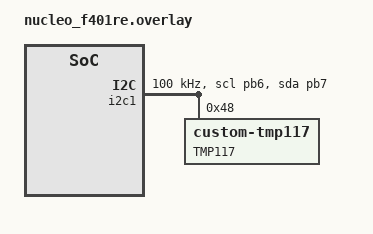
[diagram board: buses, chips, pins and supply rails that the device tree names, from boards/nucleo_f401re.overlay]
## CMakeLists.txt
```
cmake_minimum_required(VERSION 3.21)

find_package(Zephyr REQUIRED HINTS $ENV{ZEPHYR_BASE})
project(custom_dirver_module)

# Include custom driver module
add_subdirectory(custom_dirver_module)

target_sources(app PRIVATE src/main.c)

target_include_directories(app PRIVATE include)

# Link the custom TMP117 driver library
# Try using the exported variable first, then fallback to direct target name
if(CUSTOM_TMP117_LIB_TARGET)
    message(STATUS "Linking TMP117 library using exported target: ${CUSTOM_TMP117_LIB_TARGET}")
    target_link_libraries(app PRIVATE ${CUSTOM_TMP117_LIB_TARGET})
else()
    # Fallback: construct the target name based on the source path pattern
    # The target name is: ..__tmp__<project_dir>__custom_dirver_module__drivers__sensor__custom_tmp117
    get_filename_component(_project_dir ${CMAKE_SOURCE_DIR} NAME)
    set(_tmp117_target "..__tmp__${_project_dir}__custom_dirver_module__drivers__sensor__custom_tmp117")
    message(STATUS "Linking TMP117 library using constructed target: ${_tmp117_target}")
    if(TARGET ${_tmp117_target})
        target_link_libraries(app PRIVATE ${_tmp117_target})
    else()
        # Last resort: link the library file directly
        set(_tmp117_lib_file "${CMAKE_CURRENT_BINARY_DIR}/custom_dirver_module/drivers/sensor/custom_tmp117/lib${_tmp117_target}.a")
        message(STATUS "Linking TMP117 library file directly: ${_tmp117_lib_file}")
        target_link_libraries(app PRIVATE ${_tmp117_lib_file})
    endif()
endif()
```

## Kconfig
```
mainmenu "Custom TMP117 Driver Test Application Configuration"

source "Kconfig.zephyr"

# Include custom driver module Kconfig
rsource "custom_dirver_module/drivers/Kconfig"
```

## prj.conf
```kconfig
CONFIG_LOG=y

CONFIG_CBPRINTF_FP_SUPPORT=y

CONFIG_I2C=y
CONFIG_SENSOR=y
CONFIG_CUSTOM_TMP117=y
```

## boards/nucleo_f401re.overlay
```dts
/*
 * Copyright (c) 2024
 *
 * SPDX-License-Identifier: Apache-2.0
 */

#include <zephyr/dt-bindings/pinctrl/stm32-pinctrl.h>

&pinctrl {
	i2c1_scl_pb6: i2c1_scl_pb6 {
		pinmux = <STM32_PINMUX('B', 6, AF4)>;
		bias-pull-up;
		drive-open-drain;
	};

	i2c1_sda_pb7: i2c1_sda_pb7 {
		pinmux = <STM32_PINMUX('B', 7, AF4)>;
		bias-pull-up;
		drive-open-drain;
	};
};

&i2c1 {
	pinctrl-0 = <&i2c1_scl_pb6 &i2c1_sda_pb7>;
	pinctrl-names = "default";
	status = "okay";
	clock-frequency = <I2C_BITRATE_STANDARD>;

	tmp117@48 {
		compatible = "zephyr,custom-tmp117";
		reg = <0x48>;
		label = "TMP117";
		/* Output data rate: 1 Hz (1000000 uHz) */
		odr = <1000000>;
		/* Oversampling: 1 sample (no averaging) */
		oversampling = <1>;
		/* Alert pin polarity: active low (false) */
		alert-polarity = <0>;
		/* Alert mode: alert mode (false), not therm mode */
		alert-mode = <0>;
		/* Alert pin select: alert (false), not data ready */
		alert-dr-sel = <0>;
		/* Store attribute values in EEPROM: disabled (false) */
		store-attr-values = <0>;
	};
};
```

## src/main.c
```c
/*
 * Copyright (c) 2024
 *
 * SPDX-License-Identifier: Apache-2.0
 */

#include <zephyr/kernel.h>
#include <zephyr/device.h>
#include <zephyr/drivers/sensor.h>
#include <zephyr/logging/log.h>
#include <zephyr/devicetree.h>

LOG_MODULE_REGISTER(main, LOG_LEVEL_DBG);

#define TMP117_NODE DT_INST(0, zephyr_custom_tmp117)

#if !DT_NODE_EXISTS(TMP117_NODE)
#error "TMP117 device not found in device tree"
#endif

int main(void)
{
	const struct device *tmp117 = DEVICE_DT_GET(TMP117_NODE);
	struct sensor_value temp;
	int ret;
	int retry_count = 0;
	const int max_retries = 10;

	LOG_INF("Waiting for TMP117 device to be ready...");

	/* Wait for device to be ready with retries */
	while (!device_is_ready(tmp117) && retry_count < max_retries) {
		LOG_DBG("Device not ready, retrying... (%d/%d)", retry_count + 1, max_retries);
		k_msleep(100);
		retry_count++;
	}

	if (!device_is_ready(tmp117)) {
		LOG_ERR("TMP117 device is not ready after %d retries", max_retries);
		LOG_ERR("Check I2C connection and device tree configuration");
		return 0;
	}

	LOG_INF("TMP117 sensor initialized. Starting temperature readings...");

	while (1) {
		/* Fetch sensor data */
		ret = sensor_sample_fetch(tmp117);
		if (ret < 0) {
			LOG_ERR("Failed to fetch sensor data: %d", ret);
			k_msleep(500);
			continue;
		}

		/* Get temperature value */
		ret = sensor_channel_get(tmp117, SENSOR_CHAN_AMBIENT_TEMP, &temp);
		if (ret < 0) {
			LOG_ERR("Failed to get temperature: %d", ret);
			k_msleep(500);
			continue;
		}

		/* Print temperature */
		LOG_INF("Temperature: %d.%06d °C", temp.val1, temp.val2);

		/* Sleep for 500ms */
		k_msleep(500);
	}

	return 0;
}
```
